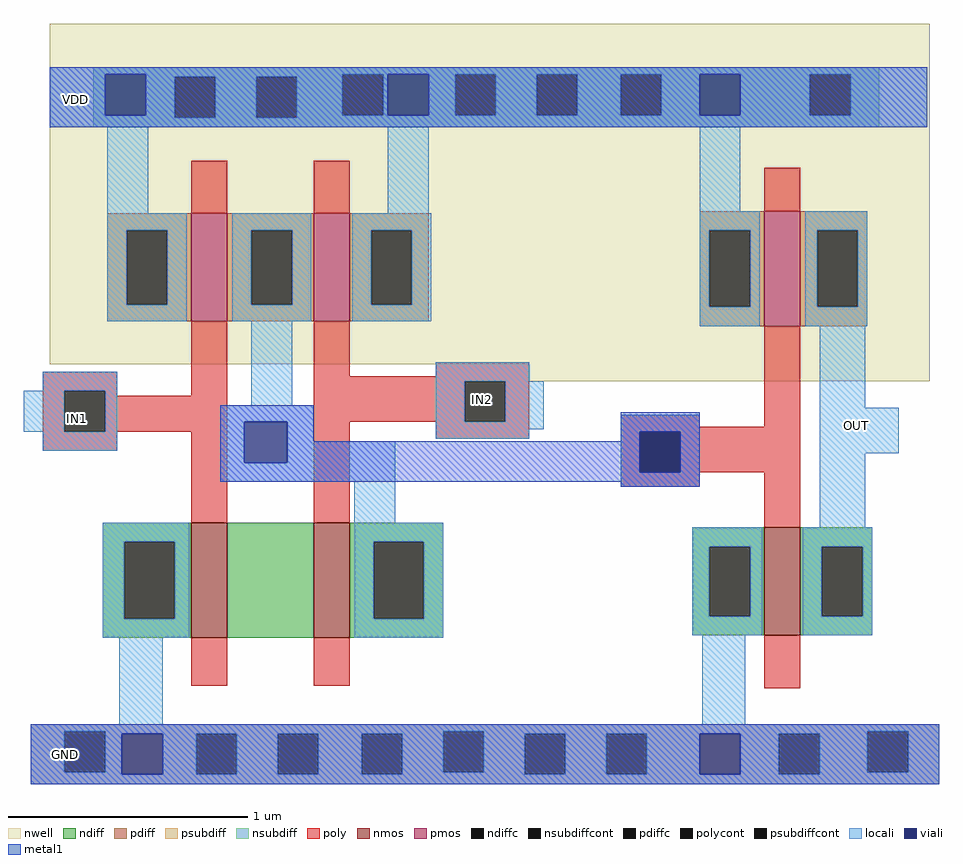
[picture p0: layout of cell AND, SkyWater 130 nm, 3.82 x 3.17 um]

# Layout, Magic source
magic

tech sky130A


<< nwell >>

rect -86 148 281 290

rect 114 141 281 148

<< nmos >>

rect -27 34 -12 82

rect 24 34 39 82

rect 212 35 227 80

<< pmos >>

rect -27 166 -12 211

rect 24 166 39 211

rect 212 164 227 212

<< ndiff >>

rect -64 74 -27 82

rect -64 42 -55 74

rect -34 42 -27 74

rect -64 34 -27 42

rect -12 34 24 82

rect 39 74 78 82

rect 39 42 49 74

rect 70 42 78 74

rect 39 34 78 42

rect 182 72 212 80

rect 182 43 189 72

rect 206 43 212 72

rect 182 35 212 43

rect 227 72 257 80

rect 227 43 236 72

rect 253 43 257 72

rect 227 35 257 43

<< pdiff >>

rect -62 204 -27 211

rect -62 173 -54 204

rect -37 173 -27 204

rect -62 166 -27 173

rect -12 204 24 211

rect -12 173 -2 204

rect 15 173 24 204

rect -12 166 24 173

rect 39 204 72 211

rect 39 173 48 204

rect 65 173 72 204

rect 39 166 72 173

rect 185 204 212 212

rect 185 172 189 204

rect 206 172 212 204

rect 185 164 212 172

rect 227 204 255 212

rect 227 172 234 204

rect 251 172 255 204

rect 227 164 255 172

<< ndiffc >>

rect -55 42 -34 74

rect 49 42 70 74

rect 189 43 206 72

rect 236 43 253 72

<< pdiffc >>

rect -54 173 -37 204

rect -2 173 15 204

rect 48 173 65 204

rect 189 172 206 204

rect 234 172 251 204

<< psubdiff >>

rect -94 -5 285 -2

rect -94 -22 -80 -5

rect -63 -6 78 -5

rect -63 -22 -25 -6

rect -94 -23 -25 -22

rect -8 -23 9 -6

rect 26 -23 44 -6

rect 61 -22 78 -6

rect 95 -6 255 -5

rect 95 -22 112 -6

rect 61 -23 112 -22

rect 129 -23 146 -6

rect 163 -23 218 -6

rect 235 -22 255 -6

rect 272 -22 285 -5

rect 235 -23 285 -22

rect -94 -27 285 -23

<< nsubdiff >>

rect -68 269 260 272

rect -68 268 36 269

rect -68 251 -34 268

rect -17 251 0 268

rect 17 252 36 268

rect 53 252 83 269

rect 100 252 117 269

rect 134 252 152 269

rect 169 252 231 269

rect 248 252 260 269

rect 17 251 260 252

rect -68 247 260 251

<< psubdiffcont >>

rect -80 -22 -63 -5

rect -25 -23 -8 -6

rect 9 -23 26 -6

rect 44 -23 61 -6

rect 78 -22 95 -5

rect 112 -23 129 -6

rect 146 -23 163 -6

rect 218 -23 235 -6

rect 255 -22 272 -5

<< nsubdiffcont >>

rect -34 251 -17 268

rect 0 251 17 268

rect 36 252 53 269

rect 83 252 100 269

rect 117 252 134 269

rect 152 252 169 269

rect 231 252 248 269

<< poly >>

rect -27 211 -12 233

rect 24 211 39 233

rect 212 212 227 230

rect -89 137 -58 145

rect -89 120 -80 137

rect -63 135 -58 137

rect -27 135 -12 166

rect -63 120 -12 135

rect -89 112 -58 120

rect -27 82 -12 120

rect 24 143 39 166

rect 75 143 114 149

rect 24 141 114 143

rect 24 124 87 141

rect 104 124 114 141

rect 24 82 39 124

rect 75 117 114 124

rect 152 122 185 127

rect 212 122 227 164

rect 152 120 227 122

rect 152 103 160 120

rect 177 103 227 120

rect 152 97 185 103

rect 212 80 227 103

rect -27 14 -12 34

rect 24 14 39 34

rect 212 13 227 35

<< polycont >>

rect -80 120 -63 137

rect 87 124 104 141

rect 160 103 177 120

<< locali >>

rect -86 269 280 272

rect -86 252 -63 269

rect -46 268 36 269

rect -46 252 -34 268

rect -86 251 -34 252

rect -17 251 0 268

rect 17 252 36 268

rect 53 252 55 269

rect 72 252 83 269

rect 100 252 117 269

rect 134 252 152 269

rect 169 252 185 269

rect 202 252 231 269

rect 248 252 280 269

rect 17 251 280 252

rect -86 247 280 251

rect -62 211 -45 247

rect 55 211 72 247

rect 185 212 202 247

rect -62 204 -29 211

rect -62 173 -54 204

rect -37 173 -29 204

rect -62 166 -29 173

rect -10 204 23 211

rect -10 173 -2 204

rect 15 173 23 204

rect -10 166 23 173

rect 40 204 73 211

rect 40 173 48 204

rect 65 173 73 204

rect 40 166 73 173

rect 185 204 210 212

rect 185 172 189 204

rect 206 172 210 204

rect -89 137 -58 145

rect -97 120 -80 137

rect -63 120 -58 137

rect -2 131 15 166

rect 185 164 210 172

rect 229 204 255 212

rect 229 172 234 204

rect 251 172 255 204

rect 229 164 255 172

rect 75 141 114 149

rect -89 112 -58 120

rect -15 124 24 131

rect -15 107 -5 124

rect 13 116 24 124

rect 75 124 87 141

rect 104 124 120 141

rect 235 130 254 164

rect 75 121 120 124

rect 75 117 114 121

rect 152 120 185 127

rect 13 107 58 116

rect -15 99 58 107

rect 41 82 58 99

rect 152 103 160 120

rect 177 103 185 120

rect 152 97 185 103

rect 235 111 268 130

rect -64 74 -28 82

rect -64 42 -55 74

rect -34 42 -28 74

rect -64 34 -28 42

rect 41 74 78 82

rect 235 80 254 111

rect 41 42 49 74

rect 70 42 78 74

rect 41 34 78 42

rect 182 72 211 80

rect 182 43 189 72

rect 206 43 211 72

rect 182 35 211 43

rect 228 72 257 80

rect 228 43 236 72

rect 253 43 257 72

rect 228 35 257 43

rect -57 -2 -39 34

rect 186 -2 204 35

rect -94 -5 285 -2

rect -94 -22 -80 -5

rect -63 -6 78 -5

rect -63 -22 -56 -6

rect -94 -23 -56 -22

rect -39 -23 -25 -6

rect -8 -23 9 -6

rect 26 -23 44 -6

rect 61 -22 78 -6

rect 95 -6 255 -5

rect 95 -22 112 -6

rect 61 -23 112 -22

rect 129 -23 146 -6

rect 163 -23 185 -6

rect 202 -23 218 -6

rect 235 -22 255 -6

rect 272 -22 285 -5

rect 235 -23 285 -22

rect -94 -27 285 -23

<< viali >>

rect -63 252 -46 269

rect 55 252 72 269

rect 185 252 202 269

rect -5 107 13 124

rect 160 103 177 120

rect -56 -23 -39 -6

rect 185 -23 202 -6

<< metal1 >>

rect -86 269 280 272

rect -86 252 -63 269

rect -46 252 55 269

rect 72 252 185 269

rect 202 252 280 269

rect -86 247 280 252

rect -15 124 24 131

rect -15 107 -5 124

rect 13 116 24 124

rect 152 120 185 128

rect 152 116 160 120

rect 13 107 160 116

rect -15 103 160 107

rect 177 103 185 120

rect -15 99 185 103

rect 152 97 185 99

rect -94 -6 285 -2

rect -94 -23 -56 -6

rect -39 -23 185 -6

rect 202 -23 285 -6

rect -94 -27 285 -23

<< labels >>

flabel space -89 248 -62 269 0 FreeSans 80 0 0 0 VDD

port 0 nsew

flabel locali -88 115 -61 136 0 FreeSans 80 0 0 0 IN1

port 2 nsew

flabel metal1 -93 -25 -66 -4 0 FreeSans 80 0 0 0 GND

port 1 nsew

flabel locali 81 123 108 144 0 FreeSans 80 0 0 0 IN2

port 3 nsew

flabel locali s 237 112 264 133 0 FreeSans 80 0 0 0 OUT

port 4 nsew

<< end >>
